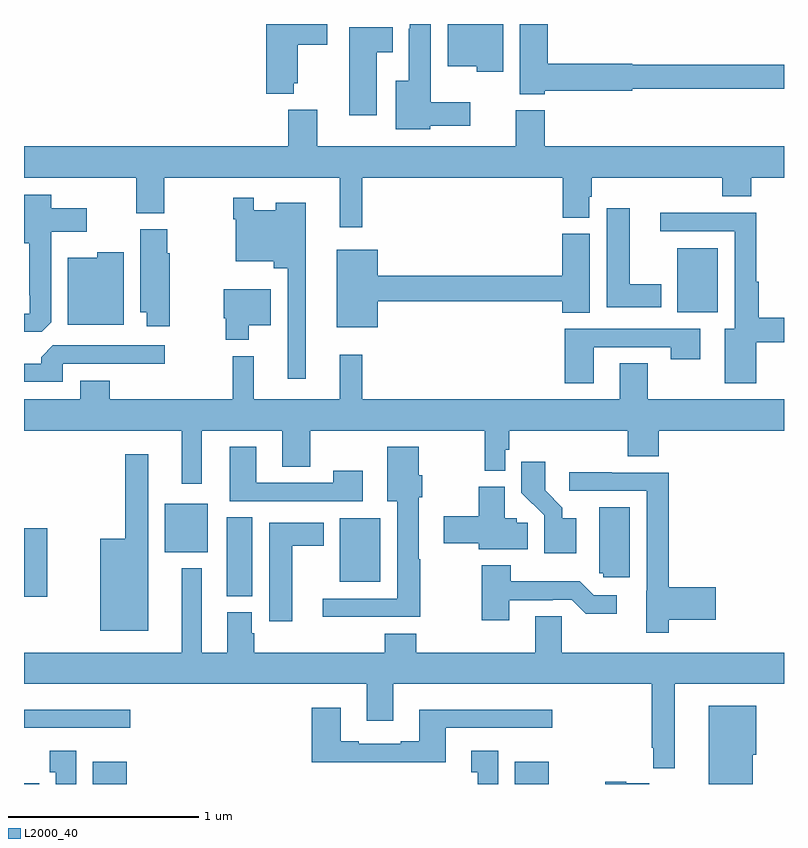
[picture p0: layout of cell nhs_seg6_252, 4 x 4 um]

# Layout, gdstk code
import gdstk
lib = gdstk.Library(unit=1e-6, precision=1e-09)
def R(c, l, rs):  # rectangles x0, y0, x1, y1
    for r in rs: c.add(gdstk.rectangle(r[:2], r[2:], *l))
def P(c, l, *ps):  # polygons
    for p in ps: c.add(gdstk.Polygon(p, *l))
L2000_40 = (2000, 40)

nhs_seg6_252 = lib.new_cell('nhs_seg6_252')
R(nhs_seg6_252, L2000_40, [(125,921.5,125.079,921.505), (125.363,921.5,125.542,921.616), (127.583,921.5,127.762,921.616), (125,921.795,125.56,921.892), (125,922.486,125.122,922.846), (126.068,922.489,126.202,922.904), (126.662,922.565,126.874,922.9), (125.741,922.721,125.968,922.975), (128.438,923.984,128.65,924.319)])
P(nhs_seg6_252, L2000_40, [(126.42,925.187),(126.442,925.187),(126.442,925.39),(126.595,925.39),(126.595,925.5),(126.275,925.5),(126.275,925.133),(126.42,925.133)],
  [(127.74,925.15),(128.202,925.15),(128.202,925.158),(129,925.158),(129,925.286),(128.202,925.286),(128.202,925.292),(127.757,925.292),(127.757,925.5),(127.61,925.5),(127.61,925.13),(127.74,925.13)],
  [(127.137,924.965),(127.348,924.965),(127.348,925.087),(127.141,925.087),(127.141,925.5),(127.029,925.5),(127.029,925.475),(127.025,925.475),(127.025,925.201),(126.956,925.201),(126.956,924.947),(127.137,924.947)],
  [(127.522,925.5),(127.229,925.5),(127.229,925.277),(127.383,925.277),(127.383,925.25),(127.522,925.25)],
  [(126.856,925.352),(126.94,925.352),(126.94,925.483),(126.713,925.483),(126.713,925.02),(126.856,925.02)],
  [(126.779,924.692),(127.835,924.692),(127.835,924.481),(127.975,924.481),(127.975,924.591),(127.988,924.591),(127.988,924.692),(128.675,924.692),(128.675,924.593),(128.827,924.593),(128.827,924.692),(129,924.692),(129,924.856),(127.742,924.856),(127.742,925.045),(127.589,925.045),(127.589,924.856),(126.544,924.856),(126.544,925.048),(126.392,925.048),(126.392,924.856),(125,924.856),(125,924.692),(125.591,924.692),(125.591,924.505),(125.739,924.505),(125.739,924.692),(126.662,924.692),(126.662,924.429),(126.779,924.429)],
  [(125.143,923.929),(125.143,924.407),(125.329,924.407),(125.329,924.529),(125.143,924.529),(125.143,924.601),(125,924.601),(125,924.347),(125.027,924.347),(125.027,924.073),(125.031,924.073),(125.031,923.976),(125,923.976),(125,923.88),(125.094,923.88)],
  [(126.484,924.559),(126.326,924.559),(126.326,924.52),(126.21,924.52),(126.21,924.586),(126.102,924.586),(126.102,924.473),(126.114,924.473),(126.114,924.251),(126.314,924.251),(126.314,924.215),(126.387,924.215),(126.387,923.634),(126.484,923.634)],
  [(128.353,924.13),(128.188,924.13),(128.188,924.529),(128.066,924.529),(128.066,924.008),(128.353,924.008)],
  [(128.854,923.825),(129,923.825),(129,923.955),(128.867,923.955),(128.867,924.143),(128.854,924.143),(128.854,924.506),(128.349,924.506),(128.349,924.408),(128.741,924.408),(128.741,923.896),(128.687,923.896),(128.687,923.61),(128.854,923.61)],
  [(125.767,924.294),(125.754,924.294),(125.754,924.42),(125.612,924.42),(125.612,923.984),(125.645,923.984),(125.645,923.91),(125.767,923.91)],
  [(126.862,924.04),(127.832,924.04),(127.832,923.98),(127.978,923.98),(127.978,924.396),(127.832,924.396),(127.832,924.176),(126.862,924.176),(126.862,924.313),(126.647,924.313),(126.647,923.903),(126.862,923.903)],
  [(125.524,924.298),(125.385,924.298),(125.385,924.271),(125.231,924.271),(125.231,923.918),(125.524,923.918)],
  [(126.184,923.915),(126.298,923.915),(126.298,924.103),(126.05,924.103),(126.05,923.952),(126.062,923.952),(126.062,923.837),(126.184,923.837)],
  [(127.999,923.799),(128.404,923.799),(128.404,923.736),(128.56,923.736),(128.56,923.895),(127.847,923.895),(127.847,923.61),(127.999,923.61)],
  [(125.205,923.712),(125.74,923.712),(125.74,923.808),(125.151,923.808),(125.09,923.746),(125.09,923.712),(125,923.712),(125,923.616),(125.205,923.616)],
  [(125.935,923.36),(126.359,923.36),(126.359,923.17),(126.507,923.17),(126.507,923.36),(127.425,923.36),(127.425,923.15),(127.533,923.15),(127.533,923.259),(127.553,923.259),(127.553,923.36),(128.177,923.36),(128.177,923.224),(128.342,923.224),(128.342,923.36),(129,923.36),(129,923.524),(128.283,923.524),(128.283,923.714),(128.135,923.714),(128.135,923.524),(126.779,923.524),(126.779,923.758),(126.662,923.758),(126.662,923.524),(126.209,923.524),(126.209,923.752),(126.099,923.752),(126.099,923.524),(125.45,923.524),(125.45,923.623),(125.297,923.623),(125.297,923.524),(125,923.524),(125,923.36),(125.831,923.36),(125.831,923.079),(125.935,923.079)],
  [(126.784,923.149),(126.628,923.149),(126.628,923.085),(126.223,923.085),(126.223,923.275),(126.083,923.275),(126.083,922.989),(126.784,922.989)],
  [(127.086,922.682),(127.078,922.682),(127.078,923.01),(127.096,923.01),(127.096,923.124),(127.078,923.124),(127.078,923.275),(126.911,923.275),(126.911,922.988),(126.965,922.988),(126.965,922.476),(126.573,922.476),(126.573,922.379),(127.086,922.379)],
  [(125.653,923.236),(125.532,923.236),(125.532,922.792),(125.402,922.792),(125.402,922.307),(125.653,922.307)],
  [(127.906,922.9),(127.834,922.9),(127.834,922.955),(127.744,923.045),(127.744,923.197),(127.618,923.197),(127.618,923.034),(127.737,922.915),(127.737,922.764),(127.739,922.764),(127.739,922.715),(127.906,922.715)],
  [(128.393,922.364),(128.641,922.364),(128.641,922.535),(128.393,922.535),(128.393,923.139),(128.093,923.139),(128.093,923.142),(127.869,923.142),(127.869,923.043),(128.277,923.043),(128.277,922.518),(128.276,922.518),(128.276,922.296),(128.393,922.296)],
  [(127.652,922.874),(127.593,922.874),(127.593,922.899),(127.531,922.899),(127.531,923.065),(127.394,923.065),(127.394,922.908),(127.209,922.908),(127.209,922.766),(127.394,922.766),(127.394,922.736),(127.652,922.736)],
  [(128.188,922.957),(128.027,922.957),(128.027,922.608),(128.049,922.608),(128.049,922.587),(128.188,922.587)],
  [(126.412,922.754),(126.577,922.754),(126.577,922.876),(126.29,922.876),(126.29,922.356),(126.412,922.356)],
  [(127.555,922.467),(127.784,922.467),(127.784,922.47),(127.884,922.47),(127.957,922.397),(128.119,922.397),(128.119,922.494),(127.998,922.494),(127.925,922.567),(127.563,922.567),(127.563,922.651),(127.408,922.651),(127.408,922.362),(127.555,922.362)],
  [(128.425,922.028),(129,922.028),(129,922.192),(127.83,922.192),(127.83,922.382),(127.691,922.382),(127.691,922.192),(127.064,922.192),(127.064,922.291),(126.899,922.291),(126.899,922.192),(126.212,922.192),(126.212,922.293),(126.199,922.293),(126.199,922.404),(126.071,922.404),(126.071,922.192),(125.935,922.192),(125.935,922.636),(125.831,922.636),(125.831,922.192),(125,922.192),(125,922.028),(126.803,922.028),(126.803,921.834),(126.943,921.834),(126.943,922.028),(128.304,922.028),(128.304,921.691),(128.311,921.691),(128.311,921.584),(128.425,921.584)],
  [(128.836,921.654),(128.854,921.654),(128.854,921.913),(128.603,921.913),(128.603,921.5),(128.836,921.5)],
  [(127.219,921.795),(127.78,921.795),(127.78,921.892),(127.079,921.892),(127.079,921.724),(126.983,921.724),(126.983,921.711),(126.763,921.711),(126.763,921.724),(126.667,921.724),(126.667,921.901),(126.515,921.901),(126.515,921.614),(127.219,921.614)],
  [(125.275,921.676),(125.135,921.676),(125.135,921.563),(125.168,921.563),(125.168,921.5),(125.275,921.5)],
  [(127.495,921.676),(127.355,921.676),(127.355,921.563),(127.388,921.563),(127.388,921.5),(127.495,921.5)],
  [(128.292,921.505),(128.17,921.505),(128.17,921.512),(128.058,921.512),(128.058,921.5),(128.292,921.5)])

lib.write_gds('nhs_seg6_252.gds')
